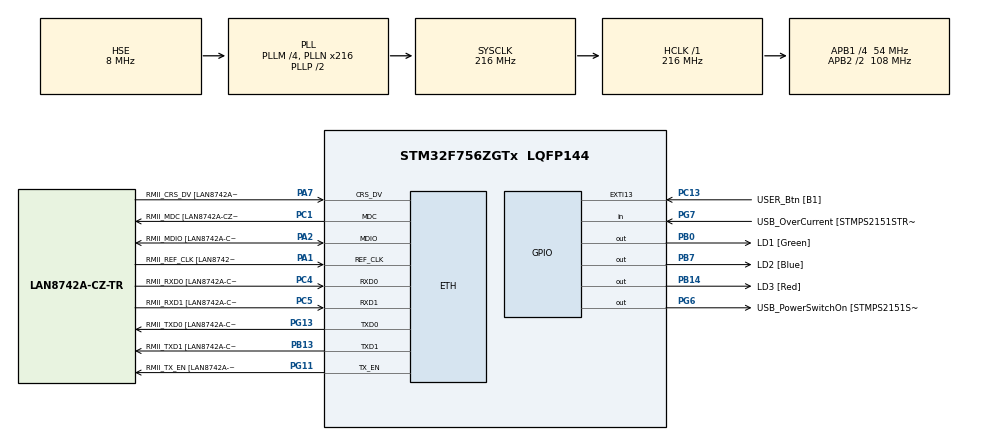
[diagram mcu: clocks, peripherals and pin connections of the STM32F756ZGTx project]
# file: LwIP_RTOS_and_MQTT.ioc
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ETH.MediaInterface=ETH_MEDIA_INTERFACE_RMII
ETH.PhyAddress=0
FREERTOS.Tasks01=defaultTask,0,512,StartDefaultTask,Default,NULL,Dynamic,NULL,NULL
FREERTOS.configCHECK_FOR_STACK_OVERFLOW=2
FREERTOS.configMINIMAL_STACK_SIZE=512
FREERTOS.configTOTAL_HEAP_SIZE=32768
FREERTOS.configUSE_NEWLIB_REENTRANT=1
LWIP.LWIP_SO_RCVBUF=1
LWIP.Version=v2.1.2_Cube
Mcu.Family=STM32F7
Mcu.Name=STM32F756ZGTx
Mcu.Package=LQFP144
NVIC.ETH_IRQn=true\:5\:0\:false\:false\:true\:true\:false\:true
NVIC.PriorityGroup=NVIC_PRIORITYGROUP_4
NVIC.TIM6_DAC_IRQn=true\:15\:0\:false\:false\:true\:false\:false\:true
NVIC.TimeBase=TIM6_DAC_IRQn
NVIC.TimeBaseIP=TIM6
PA1.GPIO_Label=RMII_REF_CLK [LAN8742A-CZ-TR_REFCLK0]
PA1.Mode=RMII
PA1.Signal=ETH_REF_CLK
PA10.GPIO_Label=USB_ID
PA10.Signal=USB_OTG_FS_ID
PA13.GPIO_Label=TMS
PA13.Mode=Trace_Asynchronous_SW
PA13.Signal=SYS_JTMS-SWDIO
PA14.GPIO_Label=TCK
PA14.Mode=Trace_Asynchronous_SW
PA14.Signal=SYS_JTCK-SWCLK
PA2.GPIO_Label=RMII_MDIO [LAN8742A-CZ-TR_MDIO]
PA2.Mode=RMII
PA2.Signal=ETH_MDIO
PA7.GPIO_Label=RMII_CRS_DV [LAN8742A-CZ-TR_CRS_DV]
PA7.Mode=RMII
PA7.Signal=ETH_CRS_DV
PA8.GPIO_Label=USB_SOF [TP1]
PA8.Signal=USB_OTG_FS_SOF
PA9.GPIO_Label=USB_VBUS
PA9.Signal=USB_OTG_FS_VBUS
PB0.GPIO_Label=LD1 [Green]
PB0.Signal=GPIO_Output
PB13.GPIO_Label=RMII_TXD1 [LAN8742A-CZ-TR_TXD1]
PB13.Mode=RMII
PB13.Signal=ETH_TXD1
PB14.GPIO_Label=LD3 [Red]
PB14.Signal=GPIO_Output
PB3.GPIO_Label=SWO
PB3.Mode=Trace_Asynchronous_SW
PB3.Signal=SYS_JTDO-SWO
PB7.GPIO_Label=LD2 [Blue]
PB7.Signal=GPIO_Output
PC1.GPIO_Label=RMII_MDC [LAN8742A-CZ-TR_MDC]
PC1.Mode=RMII
PC1.Signal=ETH_MDC
PC13.GPIO_Label=USER_Btn [B1]
PC13.Signal=GPXTI13
PC14/OSC32_IN.Mode=LSE-External-Oscillator
PC14/OSC32_IN.Signal=RCC_OSC32_IN
PC15/OSC32_OUT.Mode=LSE-External-Oscillator
PC15/OSC32_OUT.Signal=RCC_OSC32_OUT
PC4.GPIO_Label=RMII_RXD0 [LAN8742A-CZ-TR_RXD0]
PC4.Mode=RMII
PC4.Signal=ETH_RXD0
PC5.GPIO_Label=RMII_RXD1 [LAN8742A-CZ-TR_RXD1]
PC5.Mode=RMII
PC5.Signal=ETH_RXD1
PD8.GPIO_Label=STLK_RX [STM32F103CBT6_PA3]
PD8.Signal=USART3_TX
PD9.GPIO_Label=STLK_TX [STM32F103CBT6_PA2]
PD9.Signal=USART3_RX
PG11.GPIO_Label=RMII_TX_EN [LAN8742A-CZ-TR_TXEN]
PG11.Mode=RMII
PG11.Signal=ETH_TX_EN
PG13.GPIO_Label=RMII_TXD0 [LAN8742A-CZ-TR_TXD0]
PG13.Mode=RMII
PG13.Signal=ETH_TXD0
PG6.GPIO_Label=USB_PowerSwitchOn [STMPS2151STR_EN]
PG6.Signal=GPIO_Output
PG7.GPIO_Label=USB_OverCurrent [STMPS2151STR_FAULT]
PG7.Signal=GPIO_Input
PH0/OSC_IN.GPIO_Label=MCO [STM32F103CBT6_PA8]
PH0/OSC_IN.Mode=HSE-External-Clock-Source
PH0/OSC_IN.Signal=RCC_OSC_IN
PH1/OSC_OUT.Mode=HSE-External-Clock-Source
PH1/OSC_OUT.Signal=RCC_OSC_OUT
ProjectManager.HeapSize=0x200
ProjectManager.StackSize=0x400
ProjectManager.TargetToolchain=STM32CubeIDE
RCC.AHBFreq_Value=216000000
RCC.APB1CLKDivider=RCC_HCLK_DIV4
RCC.APB1Freq_Value=54000000
RCC.APB1TimFreq_Value=108000000
RCC.APB2CLKDivider=RCC_HCLK_DIV2
RCC.APB2Freq_Value=108000000
RCC.APB2TimFreq_Value=216000000
RCC.CortexFreq_Value=216000000
RCC.HCLKFreq_Value=216000000
RCC.HSE_VALUE=8000000
RCC.HSI_VALUE=16000000
RCC.PLLM=4
RCC.PLLN=216
RCC.PLLQ=9
RCC.PLLSourceVirtual=RCC_PLLSOURCE_HSE
RCC.SYSCLKFreq_VALUE=216000000
RCC.SYSCLKSource=RCC_SYSCLKSOURCE_PLLCLK
RCC.USBFreq_Value=48000000
RCC.VCOOutputFreq_Value=432000000
VP_FREERTOS_VS_CMSIS_V1.Mode=CMSIS_V1
VP_LWIP_VS_Enabled.Mode=Enabled
VP_SYS_VS_tim6.Mode=TIM6
board=custom

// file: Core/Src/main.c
/* USER CODE BEGIN Header */
/**
  ******************************************************************************
  * @file           : main.c
  * @brief          : Main program body
  ******************************************************************************
  * @attention
  *
  * <h2><center>&copy; Copyright (c) 2021 STMicroelectronics.
  * All rights reserved.</center></h2>
  *
  * This software component is licensed by ST under BSD 3-Clause license,
  * the "License"; You may not use this file except in compliance with the
  * License. You may obtain a copy of the License at:
  *                        opensource.org/licenses/BSD-3-Clause
  *
  ******************************************************************************
  */
/* USER CODE END Header */
#include "main.h"
#include "cmsis_os.h"
#include "lwip.h"
#include "gpio.h"

/* USER CODE BEGIN PV */
extern uint32_t MilliTimer;
/* USER CODE END PV */

void SystemClock_Config(void);
void MX_FREERTOS_Init(void);

/* USER CODE BEGIN 0 */
int _write(int file, char *ptr, int len) {
	int DataIdx;
	for (DataIdx = 0; DataIdx < len; DataIdx++) {
		ITM_SendChar(*ptr++);
	}
	return len;
}
/* USER CODE END 0 */

int main(void)
{

  /* MCU Configuration--------------------------------------------------------*/

  /* Reset of all peripherals, Initializes the Flash interface and the Systick. */
  HAL_Init();

  /* Configure the system clock */
  SystemClock_Config();

  /* Initialize all configured peripherals */
  MX_GPIO_Init();
  /* USER CODE BEGIN 2 */
	printf("Don't remove this printf to prevent hard fault.\r\n");
  /* USER CODE END 2 */

  /* Call init function for freertos objects (in freertos.c) */
  MX_FREERTOS_Init();
  /* Start scheduler */
  osKernelStart();

  /* We should never get here as control is now taken by the scheduler */
  /* Infinite loop */
  while (1)
  {

  }
}

void SystemClock_Config(void)
{
  RCC_OscInitTypeDef RCC_OscInitStruct = {0};
  RCC_ClkInitTypeDef RCC_ClkInitStruct = {0};

  /** Configure LSE Drive Capability
  */
  HAL_PWR_EnableBkUpAccess();
  /** Configure the main internal regulator output voltage
  */
  __HAL_RCC_PWR_CLK_ENABLE();
  __HAL_PWR_VOLTAGESCALING_CONFIG(PWR_REGULATOR_VOLTAGE_SCALE1);
  /** Initializes the RCC Oscillators according to the specified parameters
  * in the RCC_OscInitTypeDef structure.
  */
  RCC_OscInitStruct.OscillatorType = RCC_OSCILLATORTYPE_HSE;
  RCC_OscInitStruct.HSEState = RCC_HSE_BYPASS;
  RCC_OscInitStruct.PLL.PLLState = RCC_PLL_ON;
  RCC_OscInitStruct.PLL.PLLSource = RCC_PLLSOURCE_HSE;
  RCC_OscInitStruct.PLL.PLLM = 4;
  RCC_OscInitStruct.PLL.PLLN = 216;
  RCC_OscInitStruct.PLL.PLLP = RCC_PLLP_DIV2;
  RCC_OscInitStruct.PLL.PLLQ = 9;
  if (HAL_RCC_OscConfig(&RCC_OscInitStruct) != HAL_OK)
  {
    Error_Handler();
  }
  /** Activate the Over-Drive mode
  */
  if (HAL_PWREx_EnableOverDrive() != HAL_OK)
  {
    Error_Handler();
  }
  /** Initializes the CPU, AHB and APB buses clocks
  */
  RCC_ClkInitStruct.ClockType = RCC_CLOCKTYPE_HCLK|RCC_CLOCKTYPE_SYSCLK
                              |RCC_CLOCKTYPE_PCLK1|RCC_CLOCKTYPE_PCLK2;
  RCC_ClkInitStruct.SYSCLKSource = RCC_SYSCLKSOURCE_PLLCLK;
  RCC_ClkInitStruct.AHBCLKDivider = RCC_SYSCLK_DIV1;
  RCC_ClkInitStruct.APB1CLKDivider = RCC_HCLK_DIV4;
  RCC_ClkInitStruct.APB2CLKDivider = RCC_HCLK_DIV2;

  if (HAL_RCC_ClockConfig(&RCC_ClkInitStruct, FLASH_LATENCY_7) != HAL_OK)
  {
    Error_Handler();
  }
}

void HAL_TIM_PeriodElapsedCallback(TIM_HandleTypeDef *htim)
{
	if (htim->Instance == TIM6) {
		HAL_IncTick();
	}

  /* USER CODE BEGIN Callback 1 */
	if (htim->Instance == TIM6) {
		MilliTimer++;
	}
  /* USER CODE END Callback 1 */
}

void Error_Handler(void)
{
  __disable_irq();
  while (1)
  {
  }
}

/************************ (C) COPYRIGHT STMicroelectronics *****END OF FILE****/

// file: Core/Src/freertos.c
/* USER CODE BEGIN Header */
/**
 ******************************************************************************
 * File Name          : freertos.c
 * Description        : Code for freertos applications
 ******************************************************************************
 * @attention
 *
 * <h2><center>&copy; Copyright (c) 2021 STMicroelectronics.
 * All rights reserved.</center></h2>
 *
 * This software component is licensed by ST under Ultimate Liberty license
 * SLA0044, the "License"; You may not use this file except in compliance with
 * the License. You may obtain a copy of the License at:
 *                             www.st.com/SLA0044
 *
 ******************************************************************************
 */
/* USER CODE END Header */

#include "FreeRTOS.h"
#include "task.h"
#include "main.h"
#include "cmsis_os.h"

/* USER CODE BEGIN Includes */
#include <string.h>
#include "lwip.h"
#include "lwip/api.h"
#include "MQTTClient.h"
#include "MQTTInterface.h"
/* USER CODE END Includes */

/* USER CODE BEGIN PD */
#define BROKER_IP "192.168.1.227"
#define MQTT_PORT 1883
#define MQTT_BUFSIZE 1024
/* USER CODE END PD */

/* USER CODE BEGIN Variables */
extern struct netif gnetif; // Extern gnetif

osThreadId mqttClientSubTaskHandle; // MQTT client task handle
osThreadId mqttClientPubTaskHandle; // MQTT client task handle

Network net; // MQTT network
MQTTClient mqttClient; // MQTT Client

uint8_t sndBuffer[MQTT_BUFSIZE]; // MQTT SEND BUFFER
uint8_t rcvBuffer[MQTT_BUFSIZE]; // MQTT RECEIVE BUFFER
uint8_t msgBuffer[MQTT_BUFSIZE]; // MQTT message BUFFER

/* USER CODE END Variables */
osThreadId defaultTaskHandle;

/* USER CODE BEGIN FunctionPrototypes */
void MqttClientSubTask(void const * argument); // MQTT client subscribe task function
void MqttClientPubTask(void const * argument); // MQTT client publish task function
int MqttConnectBroker(void);
void MqttMessageArrived(MessageData * msg); // MQTT message callback function
/* USER CODE END FunctionPrototypes */

void StartDefaultTask(void const * argument);

extern void MX_LWIP_Init(void);
void MX_FREERTOS_Init(void); /* (MISRA C 2004 rule 8.1) */

/* GetIdleTaskMemory prototype (linked to static allocation support) */
void vApplicationGetIdleTaskMemory( StaticTask_t **ppxIdleTaskTCBBuffer, StackType_t **ppxIdleTaskStackBuffer, uint32_t *pulIdleTaskStackSize );

/* Hook prototypes */
void vApplicationStackOverflowHook(xTaskHandle xTask, signed char *pcTaskName);

/* USER CODE BEGIN 4 */
__weak void vApplicationStackOverflowHook(xTaskHandle xTask,
		signed char *pcTaskName) {
	HAL_GPIO_WritePin(LD3_GPIO_Port, LD3_Pin, GPIO_PIN_SET); // Turn on red led when detects stack overflow
	/* Run time stack overflow checking is performed if
	 configCHECK_FOR_STACK_OVERFLOW is defined to 1 or 2. This hook function is
	 called if a stack overflow is detected. */
}
/* USER CODE END 4 */

/* USER CODE BEGIN GET_IDLE_TASK_MEMORY */
static StaticTask_t xIdleTaskTCBBuffer;
static StackType_t xIdleStack[configMINIMAL_STACK_SIZE];

void vApplicationGetIdleTaskMemory(StaticTask_t **ppxIdleTaskTCBBuffer,
		StackType_t **ppxIdleTaskStackBuffer, uint32_t *pulIdleTaskStackSize) {
	*ppxIdleTaskTCBBuffer = &xIdleTaskTCBBuffer;
	*ppxIdleTaskStackBuffer = &xIdleStack[0];
	*pulIdleTaskStackSize = configMINIMAL_STACK_SIZE;
	/* place for user code */
}
/* USER CODE END GET_IDLE_TASK_MEMORY */

void MX_FREERTOS_Init(void) {

  /* Create the thread(s) */
  /* definition and creation of defaultTask */
  osThreadDef(defaultTask, StartDefaultTask, osPriorityNormal, 0, 512);
  defaultTaskHandle = osThreadCreate(osThread(defaultTask), NULL);

}

void StartDefaultTask(void const * argument)
{
  /* init code for LWIP */
  MX_LWIP_Init();
  /* USER CODE BEGIN StartDefaultTask */
	osThreadDef(mqttClientSubTask, MqttClientSubTask, osPriorityNormal, 0, configMINIMAL_STACK_SIZE); // Subscribe task
	osThreadDef(mqttClientPubTask, MqttClientPubTask, osPriorityNormal, 0, configMINIMAL_STACK_SIZE); // Publish task
	mqttClientSubTaskHandle = osThreadCreate(osThread(mqttClientSubTask), NULL);
	mqttClientPubTaskHandle = osThreadCreate(osThread(mqttClientPubTask), NULL);

	/* Infinite loop */
	for (;;) {
		HAL_GPIO_TogglePin(LD1_GPIO_Port, LD1_Pin); // Toggle running led
		osDelay(500);
	}
  /* USER CODE END StartDefaultTask */
}

/* USER CODE BEGIN Application */
void MqttClientSubTask(void const *argument) {
	while (1) {
		// waiting for valid ip address
		if (gnetif.ip_addr.addr == 0 || gnetif.netmask.addr == 0 || gnetif.gw.addr == 0) { // system has no valid ip address
			osDelay(1000);
			continue; // immediately leave while
		} else {
			printf("DHCP/Static IP ok\n");
			break;
		}
	}

	while (1) {
		if (!mqttClient.isconnected) {
			// Try to connect to the broker
			MQTTDisconnect(&mqttClient);
			MqttConnectBroker();
			osDelay(1000);
		} else {
			MQTTYield(&mqttClient, 1000); // Handle timer
			osDelay(100);
		}
	}
}

void MqttClientPubTask(void const * argument) {
	const char *str = "MQTT message from STM32";
	MQTTMessage message;

	while(1){
		if(mqttClient.isconnected) {
			message.payload = (void*)str;
			message.payloadlen = strlen(str);

			MQTTPublish(&mqttClient, "test", &message); // Publish a message
		}
		osDelay(1000);
	}
}

int MqttConnectBroker() {
	int ret;

	NewNetwork(&net);
	ret = ConnectNetwork(&net, BROKER_IP, MQTT_PORT);
	if (ret != MQTT_SUCCESS) {
		printf("ConnectNetwork failed.\n");
		return -1;
	}

	MQTTClientInit(&mqttClient, &net, 1000, sndBuffer, sizeof(sndBuffer),
			rcvBuffer, sizeof(rcvBuffer));

	MQTTPacket_connectData data = MQTTPacket_connectData_initializer;
	data.willFlag = 0;
	data.MQTTVersion = 3;
	data.clientID.cstring = "STM32F4";
	data.username.cstring = "STM32F4";
	data.password.cstring = "";
	data.keepAliveInterval = 60;
	data.cleansession = 1;

	ret = MQTTConnect(&mqttClient, &data);
	if (ret != MQTT_SUCCESS) {
		printf("MQTTConnect failed.\n");
		return ret;
	}

	ret = MQTTSubscribe(&mqttClient, "test", QOS0, MqttMessageArrived);
	if (ret != MQTT_SUCCESS) {
		printf("MQTTSubscribe failed.\n");
		return ret;
	}

	printf("MQTT_ConnectBroker OK\n");
	return MQTT_SUCCESS;
}

void MqttMessageArrived(MessageData *msg) {
	HAL_GPIO_TogglePin(LD2_GPIO_Port, LD2_Pin); //toggle pin when new message arrived

	MQTTMessage *message = msg->message;
	memset(msgBuffer, 0, sizeof(msgBuffer));
	memcpy(msgBuffer, message->payload, message->payloadlen);

	printf("MQTT MSG[%d]:%s\n", (int) message->payloadlen, msgBuffer);
}

/* USER CODE END Application */

/************************ (C) COPYRIGHT STMicroelectronics *****END OF FILE****/
